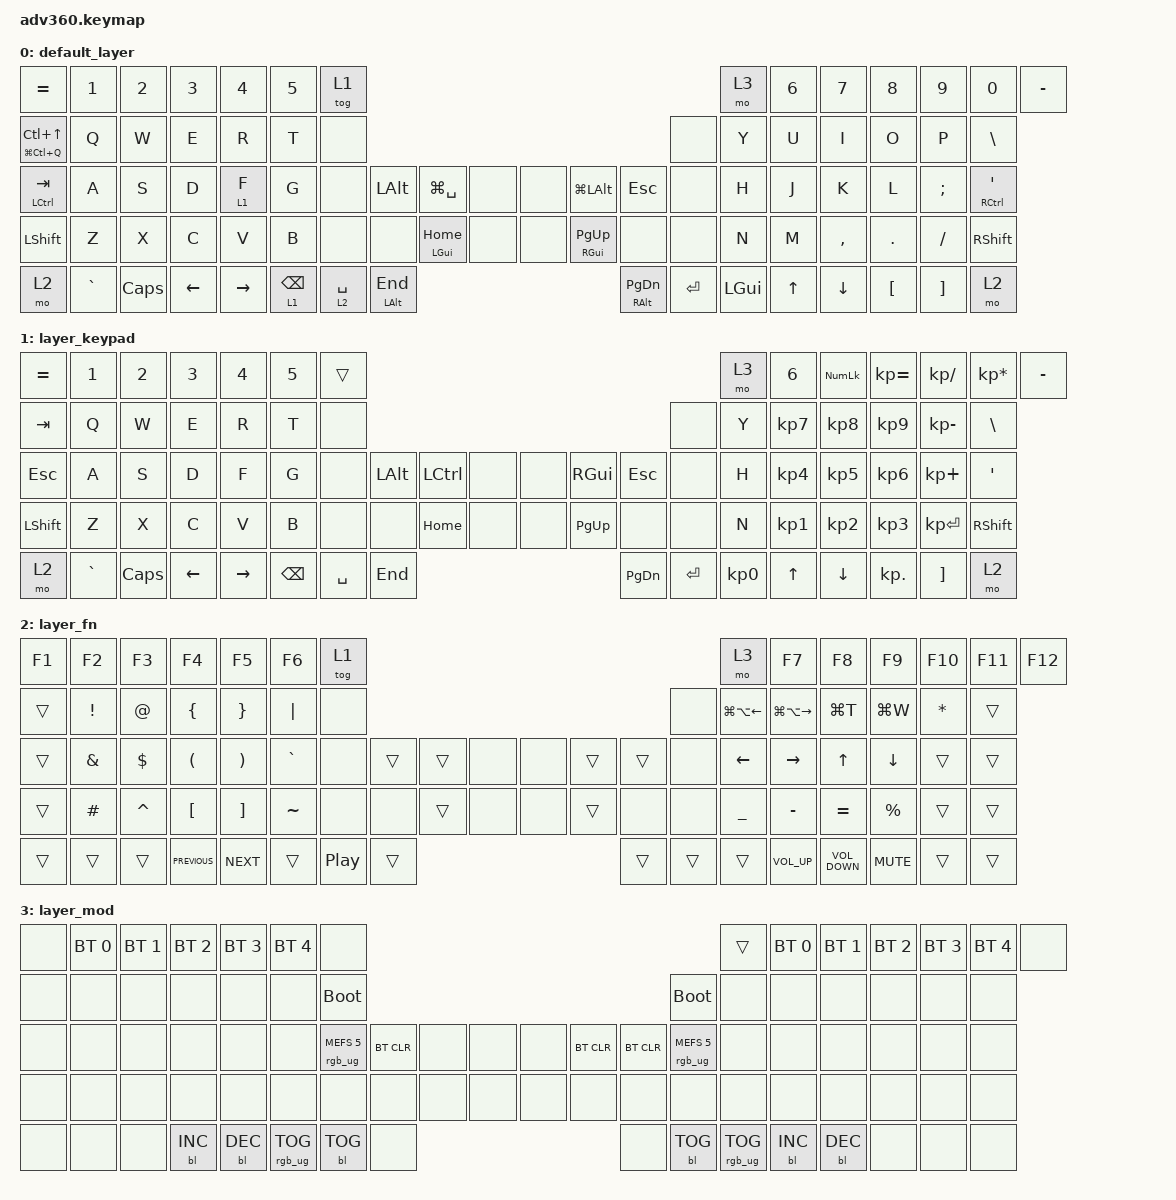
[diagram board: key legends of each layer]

/*
 * Copyright (c) 2020 The ZMK Contributors
 *
 * SPDX-License-Identifier: MIT
 */


/* THIS FILE WAS GENERATED!
 *
 * This file was generated automatically. You may or may not want to
 * edit it directly.
 */

#include <behaviors.dtsi>
#include <dt-bindings/zmk/keys.h>
#include <dt-bindings/zmk/bt.h>
#include <dt-bindings/zmk/rgb.h>
#include <dt-bindings/zmk/backlight.h>

#define CMDOPT   LG(LALT)
#define CMDSPC   LG(SPACE)

#define MISSCTL  LC(UP)
#define MACLOCK  LG(LC(Q))

#define BROWSER_SEARCH     LG(F)
#define BROWSER_NEWTAB     LG(T)
#define BROWSER_CLOSETTAB  LG(W)
#define BROWSER_NEXTTAB    LG(LA(RIGHT))
#define BROWSER_PREVTAB    LG(LA(LEFT))

&mt {
    tapping-term-ms = <200>;
    flavor = "tap-preferred";
};

&lt {
    quick_tap_ms = <200>;
};

/ {
  behaviors {
    #include "macros.dtsi"

    hm: homerow_mods {
        compatible = "zmk,behavior-hold-tap";
        label = "HOMEROW_MODS";
        #binding-cells = <2>;
        tapping-term-ms = <200>;
        quick_tap_ms = <175>;
        flavor = "tap-preferred";
        bindings = <&kp>, <&kp>;
    };
  };

    keymap {
        compatible = "zmk,keymap";


        default_layer {
            bindings = <
          &kp EQUAL     &kp N1    &kp N2    &kp N3     &kp N4  &kp N5     &tog 1                                                                                   &mo 3  &kp N6    &kp N7     &kp N8    &kp N9     &kp N0      &kp MINUS
&mt MACLOCK MISSCTL      &kp Q     &kp W     &kp E      &kp R   &kp T      &none                                                                                   &none   &kp Y     &kp U      &kp I     &kp O      &kp P       &kp BSLH
      &mt LCTRL TAB      &kp A     &kp S     &kp D    &lt 1 F   &kp G      &none       &kp LALT       &kp CMDSPC   &none   &none       &kp CMDOPT    &kp ESC       &none   &kp H     &kp J      &kp K     &kp L   &kp SEMI  &mt RCTRL SQT
          &kp LSHFT      &kp Z     &kp X     &kp C      &kp V   &kp B      &none          &none    &mt LGUI HOME   &none   &none   &mt RGUI PG_UP      &none       &none   &kp N     &kp M  &kp COMMA   &kp DOT   &kp FSLH      &kp RSHFT
              &mo 2  &kp GRAVE  &kp CAPS  &kp LEFT  &kp RIGHT         &lt 1 BSPC    &lt 2 SPACE     &mt LALT END                   &mt RALT PG_DN  &kp ENTER    &kp LGUI            &kp UP   &kp DOWN   &kp LBKT  &kp RBKT          &mo 2
            >;
        };

        layer_keypad {
            bindings = <
 &kp EQUAL     &kp N1    &kp N2    &kp N3     &kp N4  &kp N5     &trans                                                                   &mo 3  &kp N6  &kp KP_NUM  &kp KP_EQUAL  &kp KP_DIVIDE  &kp KP_MULTIPLY  &kp MINUS
   &kp TAB      &kp Q     &kp W     &kp E      &kp R   &kp T      &none                                                                   &none   &kp Y   &kp KP_N7     &kp KP_N8      &kp KP_N9     &kp KP_MINUS   &kp BSLH
   &kp ESC      &kp A     &kp S     &kp D      &kp F   &kp G      &none   &kp LALT  &kp LCTRL   &none   &none   &kp RGUI    &kp ESC       &none   &kp H   &kp KP_N4     &kp KP_N5      &kp KP_N6      &kp KP_PLUS    &kp SQT
 &kp LSHFT      &kp Z     &kp X     &kp C      &kp V   &kp B      &none      &none   &kp HOME   &none   &none  &kp PG_UP      &none       &none   &kp N   &kp KP_N1     &kp KP_N2      &kp KP_N3     &kp KP_ENTER  &kp RSHFT
     &mo 2  &kp GRAVE  &kp CAPS  &kp LEFT  &kp RIGHT           &kp BSPC  &kp SPACE    &kp END                  &kp PG_DN  &kp ENTER   &kp KP_N0              &kp UP      &kp DOWN     &kp KP_DOT         &kp RBKT      &mo 2
            >;
        };

        layer_fn {
            bindings = <
  &kp F1    &kp F2      &kp F3                &kp F4                 &kp F5     &kp F6    &tog 1                                                              &mo 3               &kp F7               &kp F8              &kp F9                &kp F10    &kp F11    &kp F12
  &trans  &kp EXCL      &kp AT        &kp LEFT_BRACE        &kp RIGHT_BRACE   &kp PIPE     &none                                                              &none  &kp BROWSER_PREVTAB  &kp BROWSER_NEXTTAB  &kp BROWSER_NEWTAB  &kp BROWSER_CLOSETTAB  &kp ASTRK     &trans
  &trans  &kp AMPS  &kp DOLLAR  &kp LEFT_PARENTHESIS  &kp RIGHT_PARENTHESIS  &kp GRAVE     &none            &trans  &trans   &none   &none  &trans  &trans    &none             &kp LEFT            &kp RIGHT              &kp UP               &kp DOWN     &trans     &trans
  &trans  &kp HASH   &kp CARET      &kp LEFT_BRACKET      &kp RIGHT_BRACKET  &kp TILDE     &none             &none  &trans   &none   &none  &trans   &none    &none       &kp UNDERSCORE            &kp MINUS           &kp EQUAL            &kp PERCENT     &trans     &trans
  &trans    &trans      &trans        &kp C_PREVIOUS             &kp C_NEXT               &trans  &kp C_PLAY_PAUSE  &trans                  &trans  &trans   &trans                           &kp C_VOLUME_UP   &kp C_VOLUME_DOWN             &kp K_MUTE     &trans     &trans
            >;
        };

        layer_mod {
            bindings = <
  &none  &bt BT_SEL 0  &bt BT_SEL 1  &bt BT_SEL 2  &bt BT_SEL 3  &bt BT_SEL 4                     &none                                                                                &trans  &bt BT_SEL 0  &bt BT_SEL 1  &bt BT_SEL 2  &bt BT_SEL 3  &bt BT_SEL 4   &none
  &none         &none         &none         &none         &none         &none               &bootloader                                                                           &bootloader         &none         &none         &none         &none         &none   &none
  &none         &none         &none         &none         &none         &none    &rgb_ug RGB_MEFS_CMD 5  &bt BT_CLR   &none   &none   &none  &bt BT_CLR  &bt BT_CLR    &rgb_ug RGB_MEFS_CMD 5         &none         &none         &none         &none         &none   &none
  &none         &none         &none         &none         &none         &none                     &none       &none   &none   &none   &none       &none       &none                     &none         &none         &none         &none         &none         &none   &none
  &none         &none         &none    &bl BL_INC    &bl BL_DEC                         &rgb_ug RGB_TOG  &bl BL_TOG   &none                       &none  &bl BL_TOG           &rgb_ug RGB_TOG                  &bl BL_INC    &bl BL_DEC         &none         &none   &none
            >;
        };

    };
};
